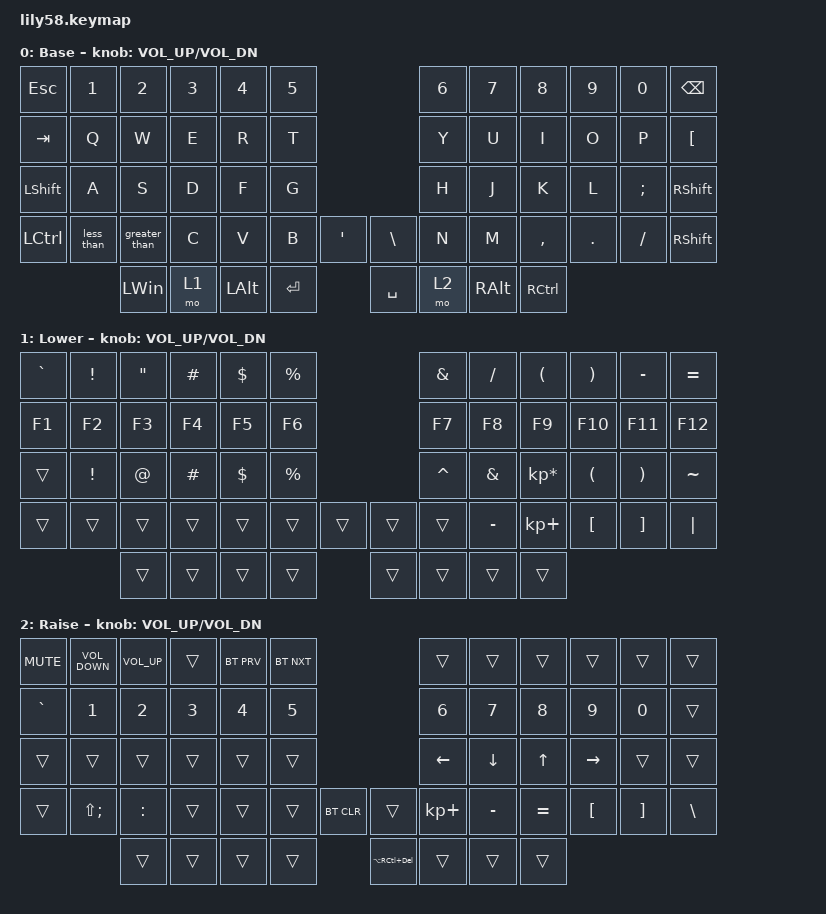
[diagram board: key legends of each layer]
/*
 * Copyright (c) 2020 The ZMK Contributors
 *
 * SPDX-License-Identifier: MIT
 */

#include <behaviors.dtsi>
#include <dt-bindings/zmk/bt.h>
#include <dt-bindings/zmk/keys.h>

/ {
  behaviors {
        less_than: less_than {
            compatible = "zmk,behavior-mod-morph";
            #binding-cells = <0>;
            bindings = <&kp Z>, <&kp NON_US_BSLH>;  // Normal: Z, With AltGr: angle bracket key
            mods = <(MOD_RALT)>;
            label = "LESS_THAN";
        };

        greater_than: greater_than {
            compatible = "zmk,behavior-mod-morph";
            #binding-cells = <0>;
            bindings = <&kp X>, <&kp LS(NON_US_BSLH)>;  // Normal: X, With AltGr: shifted angle bracket
            mods = <(MOD_RALT)>;
            label = "GREATER_THAN";
        };
    };

    keymap {
        compatible = "zmk,keymap";

        default_layer {
            // ------------------------------------------------------------------------------------------------------------
            // |  ESC  |  1  |  2  |  3   |  4   |  5   |                   |  6   |  7    |  8    |  9   |   0   |   `   |
            // |  TAB  |  Q  |  W  |  E   |  R   |  T   |                   |  Y   |  U    |  I    |  O   |   P   |   -   |
            // |  CTRL |  A  |  S  |  D   |  F   |  G   |                   |  H   |  J    |  K    |  L   |   ;   |   '   |
            // | SHIFT |  Z  |  X  |  C   |  V   |  B   |   "["  |  |  "]"  |  N   |  M    |  ,    |  .   |   /   | SHIFT |
            //                     | ALT  | GUI  | LOWER|  SPACE |  | ENTER | RAISE| BSPC  | GUI   |

            label = "Base";
            bindings = <
&kp ESC           &kp N1  &kp N2  &kp N3        &kp N4  &kp N5                                         &kp N6  &kp N7         &kp N8     &kp N9   &kp N0    &kp BACKSPACE
&kp TAB           &kp Q   &kp W   &kp E         &kp R   &kp T                                          &kp Y   &kp U          &kp I      &kp O    &kp P     &kp LEFT_BRACKET
&kp LEFT_SHIFT    &kp A   &kp S   &kp D         &kp F   &kp G                                          &kp H   &kp J          &kp K      &kp L    &kp SEMI  &kp RIGHT_SHIFT
&kp LEFT_CONTROL  &less_than &greater_than &kp C &kp V   &kp B      &kp APOSTROPHE    &kp BACKSLASH    &kp N   &kp M          &kp COMMA  &kp DOT  &kp SLASH &kp RSHFT
                                  &kp LEFT_WIN  &mo 1   &kp LEFT_ALT  &kp RETURN        &kp SPACE      &mo 2   &kp RIGHT_ALT  &kp RIGHT_CONTROL
            >;

            sensor-bindings = <&inc_dec_kp C_VOL_UP C_VOL_DN>;
        };

        lower_layer {
            // ------------------------------------------------------------------------------------------------------------
            // | BTCLR | BT1 | BT2 |  BT3 |  BT4 |  BT5 |                   |      |       |       |      |       |       |
            // |  F1   |  F2 |  F3 |  F4  |  F5  |  F6  |                   |  F7  |  F8   |  F9   |  F10 |  F11  |  F12  |
            // |   `   |  !  |  @  |  #   |  $   |  %   |                   |  ^   |  &    |  *    |  (   |   )   |   ~   |
            // |       |     |     |      |      |      |        |  |       |      |  _    |  +    |  {   |   }   |  "|"  |
            //                     |      |      |      |        |  |       |      |       |       |

            label = "Lower";
            bindings = <
&kp GRAVE  &kp EXCLAMATION  &kp DOUBLE_QUOTES  &kp HASH  &kp DOLLAR  &kp PERCENT                    &kp AMPERSAND  &kp SLASH  &kp LEFT_PARENTHESIS  &kp RIGHT_PARENTHESIS  &kp MINUS          &kp EQUAL
&kp F1     &kp F2           &kp F3             &kp F4    &kp F5      &kp F6                         &kp F7         &kp F8     &kp F9                &kp F10                &kp F11            &kp F12
&trans     &kp EXCL         &kp AT             &kp HASH  &kp DOLLAR  &kp PRCNT                      &kp CARET      &kp AMPS   &kp KP_MULTIPLY       &kp LPAR               &kp RPAR           &kp TILDE
&trans     &trans           &trans             &trans    &trans      &trans       &trans    &trans  &trans         &kp MINUS  &kp KP_PLUS           &kp LEFT_BRACKET       &kp RIGHT_BRACKET  &kp PIPE
                                               &trans    &trans      &trans       &trans    &trans  &trans         &trans     &trans
            >;

            sensor-bindings = <&inc_dec_kp C_VOL_UP C_VOL_DN>;
        };

        raise_layer {
            // ------------------------------------------------------------------------------------------------------------
            // |       |     |     |      |      |      |                   |      |       |       |      |       |       |
            // |   `   |  1  |  2  |  3   |  4   |  5   |                   |  6   |   7   |   8   |  9   |   0   |       |
            // |   F1  |  F2 |  F3 |  F4  |  F5  |  F6  |                   |      |   <-  |   v   |  ^   |  ->   |       |
            // |   F7  |  F8 |  F9 |  F10 |  F11 |  F12 |        |  |       |  +   |   -   |   =   |  [   |   ]   |   \   |
            //                     |      |      |      |        |  |       |      |       |       |

            label = "Raise";
            bindings = <
&kp C_MUTE  &kp C_VOLUME_DOWN  &kp C_VOLUME_UP  &trans  &bt BT_PRV  &bt BT_NXT                                 &trans       &trans     &trans        &trans     &trans    &trans
&kp GRAVE   &kp N1             &kp N2           &kp N3  &kp N4      &kp N5                                     &kp N6       &kp N7     &kp N8        &kp N9     &kp N0    &trans
&trans      &trans             &trans           &trans  &trans      &trans                                     &kp LEFT     &kp DOWN   &kp UP_ARROW  &kp RIGHT  &trans    &trans
&trans      &kp LS(SEMICOLON)  &kp COLON        &trans  &trans      &trans      &bt BT_CLR    &trans           &kp KP_PLUS  &kp MINUS  &kp EQUAL     &kp LBKT   &kp RBKT  &kp BSLH
                                                &trans  &trans      &trans      &trans        &kp LA(RC(DEL))  &trans       &trans     &trans
            >;

            sensor-bindings = <&inc_dec_kp C_VOL_UP C_VOL_DN>;
        };
    };

    conditional_layers { compatible = "zmk,conditional-layers"; };
};
